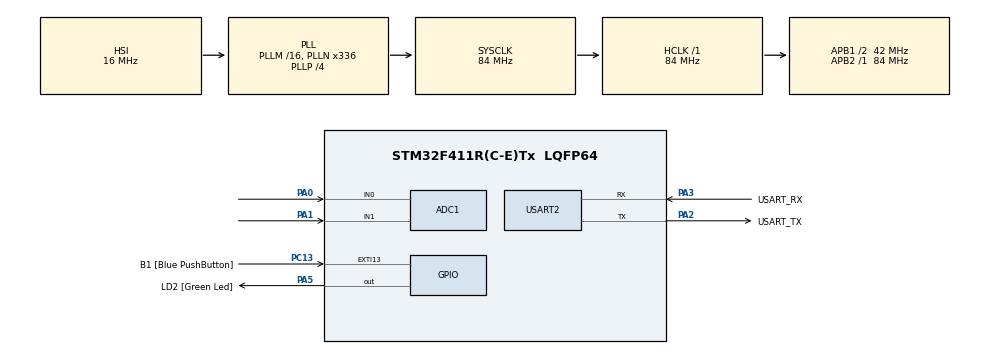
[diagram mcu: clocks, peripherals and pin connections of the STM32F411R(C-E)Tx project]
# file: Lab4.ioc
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ADC1.Channel-0\#ChannelRegularConversion=ADC_CHANNEL_0
ADC1.Channel-1\#ChannelRegularConversion=ADC_CHANNEL_1
ADC1.ContinuousConvMode=ENABLE
ADC1.DMAContinuousRequests=ENABLE
ADC1.NbrOfConversion=2
ADC1.NbrOfConversionFlag=1
ADC1.Rank-0\#ChannelRegularConversion=1
ADC1.Rank-1\#ChannelRegularConversion=2
ADC1.SamplingTime-0\#ChannelRegularConversion=ADC_SAMPLETIME_480CYCLES
ADC1.SamplingTime-1\#ChannelRegularConversion=ADC_SAMPLETIME_480CYCLES
ADC1.ScanConvMode=ENABLE
ADC1.master=1
Dma.ADC1.0.Direction=DMA_PERIPH_TO_MEMORY
Dma.ADC1.0.FIFOMode=DMA_FIFOMODE_DISABLE
Dma.ADC1.0.Instance=DMA2_Stream0
Dma.ADC1.0.MemDataAlignment=DMA_MDATAALIGN_WORD
Dma.ADC1.0.MemInc=DMA_MINC_ENABLE
Dma.ADC1.0.Mode=DMA_CIRCULAR
Dma.ADC1.0.PeriphDataAlignment=DMA_PDATAALIGN_WORD
Dma.ADC1.0.PeriphInc=DMA_PINC_DISABLE
Dma.ADC1.0.Priority=DMA_PRIORITY_LOW
Dma.Request0=ADC1
Mcu.Family=STM32F4
Mcu.Name=STM32F411R(C-E)Tx
Mcu.Package=LQFP64
NVIC.DMA2_Stream0_IRQn=true\:0\:0\:false\:false\:true\:false\:true
NVIC.EXTI15_10_IRQn=true\:0\:0\:false\:false\:true\:true\:true
NVIC.PriorityGroup=NVIC_PRIORITYGROUP_0
PA0-WKUP.Signal=ADCx_IN0
PA1.Signal=ADCx_IN1
PA13.GPIO_Label=TMS
PA13.Mode=Serial_Wire
PA13.Signal=SYS_JTMS-SWDIO
PA14.GPIO_Label=TCK
PA14.Mode=Serial_Wire
PA14.Signal=SYS_JTCK-SWCLK
PA2.GPIO_Label=USART_TX
PA2.Mode=Asynchronous
PA2.Signal=USART2_TX
PA3.GPIO_Label=USART_RX
PA3.Mode=Asynchronous
PA3.Signal=USART2_RX
PA5.GPIO_Label=LD2 [Green Led]
PA5.Signal=GPIO_Output
PB3.GPIO_Label=SWO
PB3.Signal=SYS_JTDO-SWO
PC13-ANTI_TAMP.GPIO_Label=B1 [Blue PushButton]
PC13-ANTI_TAMP.GPIO_ModeDefaultEXTI=GPIO_MODE_IT_RISING_FALLING
PC13-ANTI_TAMP.GPIO_PuPd=GPIO_PULLUP
PC13-ANTI_TAMP.Signal=GPXTI13
PC14-OSC32_IN.Mode=LSE-External-Oscillator
PC14-OSC32_IN.Signal=RCC_OSC32_IN
PC15-OSC32_OUT.Mode=LSE-External-Oscillator
PC15-OSC32_OUT.Signal=RCC_OSC32_OUT
PH0\ -\ OSC_IN.Mode=HSE-External-Clock-Source
PH0\ -\ OSC_IN.Signal=RCC_OSC_IN
PH1\ -\ OSC_OUT.Mode=HSE-External-Clock-Source
PH1\ -\ OSC_OUT.Signal=RCC_OSC_OUT
ProjectManager.HeapSize=0x200
ProjectManager.StackSize=0x400
ProjectManager.TargetToolchain=STM32CubeIDE
RCC.48MHZClocksFreq_Value=84000000
RCC.AHBFreq_Value=84000000
RCC.APB1CLKDivider=RCC_HCLK_DIV2
RCC.APB1Freq_Value=42000000
RCC.APB1TimFreq_Value=84000000
RCC.APB2Freq_Value=84000000
RCC.APB2TimFreq_Value=84000000
RCC.CortexFreq_Value=84000000
RCC.FLatency-AdvancedSettings=FLASH_LATENCY_2
RCC.HCLKFreq_Value=84000000
RCC.HSE_VALUE=8000000
RCC.HSI_VALUE=16000000
RCC.PLLN=336
RCC.PLLP=RCC_PLLP_DIV4
RCC.SYSCLKFreq_VALUE=84000000
RCC.SYSCLKSource=RCC_SYSCLKSOURCE_PLLCLK
RCC.VCOOutputFreq_Value=336000000
SH.ADCx_IN0.0=ADC1_IN0,IN0
SH.ADCx_IN1.0=ADC1_IN1,IN1
USART2.VirtualMode=VM_ASYNC
board=NUCLEO-F411RE

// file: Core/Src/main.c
/* USER CODE BEGIN Header */
/**
  ******************************************************************************
  * @file           : main.c
  * @brief          : Main program body
  ******************************************************************************
  * @attention
  *
  * <h2><center>&copy; Copyright (c) 2021 STMicroelectronics.
  * All rights reserved.</center></h2>
  *
  * This software component is licensed by ST under BSD 3-Clause license,
  * the "License"; You may not use this file except in compliance with the
  * License. You may obtain a copy of the License at:
  *                        opensource.org/licenses/BSD-3-Clause
  *
  ******************************************************************************
  */
/* USER CODE END Header */
#include "main.h"

ADC_HandleTypeDef hadc1;
DMA_HandleTypeDef hdma_adc1;

UART_HandleTypeDef huart2;

/* USER CODE BEGIN PV */
uint32_t ADCData[2]={0};
uint32_t Time=0;
uint32_t TimeOn=0;
uint32_t RealTime=0;
uint16_t PutSW=0;
uint16_t ModeLED=0;
uint32_t RandomTime=0;
/* USER CODE END PV */

void SystemClock_Config(void);
static void MX_GPIO_Init(void);
static void MX_DMA_Init(void);
static void MX_USART2_UART_Init(void);
static void MX_ADC1_Init(void);

int main(void)
{

  /* MCU Configuration--------------------------------------------------------*/

  /* Reset of all peripherals, Initializes the Flash interface and the Systick. */
  HAL_Init();

  /* Configure the system clock */
  SystemClock_Config();

  /* Initialize all configured peripherals */
  MX_GPIO_Init();
  MX_DMA_Init();
  MX_USART2_UART_Init();
  MX_ADC1_Init();
  /* USER CODE BEGIN 2 */
  HAL_ADC_Start_DMA(&hadc1, ADCData, 2);
  HAL_GPIO_WritePin(GPIOA, GPIO_PIN_5,SET);
  /* USER CODE END 2 */

  /* Infinite loop */
  /* USER CODE BEGIN WHILE */
  while (1)
  {
	  if(RandomTime>0)
	  {
		  if(HAL_GetTick()>TimeOn)
		  {
			  HAL_GPIO_WritePin(GPIOA, GPIO_PIN_5,SET);
		  }
	  }
    /* USER CODE END WHILE */

  }
}

void SystemClock_Config(void)
{
  RCC_OscInitTypeDef RCC_OscInitStruct = {0};
  RCC_ClkInitTypeDef RCC_ClkInitStruct = {0};

  /** Configure the main internal regulator output voltage
  */
  __HAL_RCC_PWR_CLK_ENABLE();
  __HAL_PWR_VOLTAGESCALING_CONFIG(PWR_REGULATOR_VOLTAGE_SCALE1);
  /** Initializes the RCC Oscillators according to the specified parameters
  * in the RCC_OscInitTypeDef structure.
  */
  RCC_OscInitStruct.OscillatorType = RCC_OSCILLATORTYPE_HSI;
  RCC_OscInitStruct.HSIState = RCC_HSI_ON;
  RCC_OscInitStruct.HSICalibrationValue = RCC_HSICALIBRATION_DEFAULT;
  RCC_OscInitStruct.PLL.PLLState = RCC_PLL_ON;
  RCC_OscInitStruct.PLL.PLLSource = RCC_PLLSOURCE_HSI;
  RCC_OscInitStruct.PLL.PLLM = 16;
  RCC_OscInitStruct.PLL.PLLN = 336;
  RCC_OscInitStruct.PLL.PLLP = RCC_PLLP_DIV4;
  RCC_OscInitStruct.PLL.PLLQ = 4;
  if (HAL_RCC_OscConfig(&RCC_OscInitStruct) != HAL_OK)
  {
    Error_Handler();
  }
  /** Initializes the CPU, AHB and APB buses clocks
  */
  RCC_ClkInitStruct.ClockType = RCC_CLOCKTYPE_HCLK|RCC_CLOCKTYPE_SYSCLK
                              |RCC_CLOCKTYPE_PCLK1|RCC_CLOCKTYPE_PCLK2;
  RCC_ClkInitStruct.SYSCLKSource = RCC_SYSCLKSOURCE_PLLCLK;
  RCC_ClkInitStruct.AHBCLKDivider = RCC_SYSCLK_DIV1;
  RCC_ClkInitStruct.APB1CLKDivider = RCC_HCLK_DIV2;
  RCC_ClkInitStruct.APB2CLKDivider = RCC_HCLK_DIV1;

  if (HAL_RCC_ClockConfig(&RCC_ClkInitStruct, FLASH_LATENCY_2) != HAL_OK)
  {
    Error_Handler();
  }
}

static void MX_ADC1_Init(void)
{

  ADC_ChannelConfTypeDef sConfig = {0};

  /** Configure the global features of the ADC (Clock, Resolution, Data Alignment and number of conversion)
  */
  hadc1.Instance = ADC1;
  hadc1.Init.ClockPrescaler = ADC_CLOCK_SYNC_PCLK_DIV4;
  hadc1.Init.Resolution = ADC_RESOLUTION_12B;
  hadc1.Init.ScanConvMode = ENABLE;
  hadc1.Init.ContinuousConvMode = ENABLE;
  hadc1.Init.DiscontinuousConvMode = DISABLE;
  hadc1.Init.ExternalTrigConvEdge = ADC_EXTERNALTRIGCONVEDGE_NONE;
  hadc1.Init.ExternalTrigConv = ADC_SOFTWARE_START;
  hadc1.Init.DataAlign = ADC_DATAALIGN_RIGHT;
  hadc1.Init.NbrOfConversion = 2;
  hadc1.Init.DMAContinuousRequests = ENABLE;
  hadc1.Init.EOCSelection = ADC_EOC_SINGLE_CONV;
  if (HAL_ADC_Init(&hadc1) != HAL_OK)
  {
    Error_Handler();
  }
  /** Configure for the selected ADC regular channel its corresponding rank in the sequencer and its sample time.
  */
  sConfig.Channel = ADC_CHANNEL_0;
  sConfig.Rank = 1;
  sConfig.SamplingTime = ADC_SAMPLETIME_480CYCLES;
  if (HAL_ADC_ConfigChannel(&hadc1, &sConfig) != HAL_OK)
  {
    Error_Handler();
  }
  /** Configure for the selected ADC regular channel its corresponding rank in the sequencer and its sample time.
  */
  sConfig.Channel = ADC_CHANNEL_1;
  sConfig.Rank = 2;
  if (HAL_ADC_ConfigChannel(&hadc1, &sConfig) != HAL_OK)
  {
    Error_Handler();
  }

}

static void MX_USART2_UART_Init(void)
{

  huart2.Instance = USART2;
  huart2.Init.BaudRate = 115200;
  huart2.Init.WordLength = UART_WORDLENGTH_8B;
  huart2.Init.StopBits = UART_STOPBITS_1;
  huart2.Init.Parity = UART_PARITY_NONE;
  huart2.Init.Mode = UART_MODE_TX_RX;
  huart2.Init.HwFlowCtl = UART_HWCONTROL_NONE;
  huart2.Init.OverSampling = UART_OVERSAMPLING_16;
  if (HAL_UART_Init(&huart2) != HAL_OK)
  {
    Error_Handler();
  }

}

static void MX_DMA_Init(void)
{

  /* DMA controller clock enable */
  __HAL_RCC_DMA2_CLK_ENABLE();

  /* DMA interrupt init */
  /* DMA2_Stream0_IRQn interrupt configuration */
  HAL_NVIC_SetPriority(DMA2_Stream0_IRQn, 0, 0);
  HAL_NVIC_EnableIRQ(DMA2_Stream0_IRQn);

}

static void MX_GPIO_Init(void)
{
  GPIO_InitTypeDef GPIO_InitStruct = {0};

  /* GPIO Ports Clock Enable */
  __HAL_RCC_GPIOC_CLK_ENABLE();
  __HAL_RCC_GPIOH_CLK_ENABLE();
  __HAL_RCC_GPIOA_CLK_ENABLE();
  __HAL_RCC_GPIOB_CLK_ENABLE();

  /*Configure GPIO pin Output Level */
  HAL_GPIO_WritePin(LD2_GPIO_Port, LD2_Pin, GPIO_PIN_RESET);

  /*Configure GPIO pin : B1_Pin */
  GPIO_InitStruct.Pin = B1_Pin;
  GPIO_InitStruct.Mode = GPIO_MODE_IT_RISING_FALLING;
  GPIO_InitStruct.Pull = GPIO_PULLUP;
  HAL_GPIO_Init(B1_GPIO_Port, &GPIO_InitStruct);

  /*Configure GPIO pin : LD2_Pin */
  GPIO_InitStruct.Pin = LD2_Pin;
  GPIO_InitStruct.Mode = GPIO_MODE_OUTPUT_PP;
  GPIO_InitStruct.Pull = GPIO_NOPULL;
  GPIO_InitStruct.Speed = GPIO_SPEED_FREQ_LOW;
  HAL_GPIO_Init(LD2_GPIO_Port, &GPIO_InitStruct);

  /* EXTI interrupt init*/
  HAL_NVIC_SetPriority(EXTI15_10_IRQn, 0, 0);
  HAL_NVIC_EnableIRQ(EXTI15_10_IRQn);

}

/* USER CODE BEGIN 4 */
void HAL_GPIO_EXTI_Callback(uint16_t GPIO_Pin)
{

	if(GPIO_Pin == GPIO_PIN_13)
	{
		PutSW = HAL_GPIO_ReadPin(GPIOC, GPIO_PIN_13);
		switch(PutSW)
		{
		case 0:

			Time=HAL_GetTick();
			RandomTime= 1000 +((22695477* ADCData[0]) +ADCData[1])% 10000;
			TimeOn=Time+RandomTime;
			HAL_GPIO_WritePin(GPIOA, GPIO_PIN_5,RESET);
		break;
		case 1:
			RealTime=HAL_GetTick()-TimeOn;
		break;

	}
	}

}
/* USER CODE END 4 */

void Error_Handler(void)
{
  __disable_irq();
  while (1)
  {
  }
}

/************************ (C) COPYRIGHT STMicroelectronics *****END OF FILE****/
